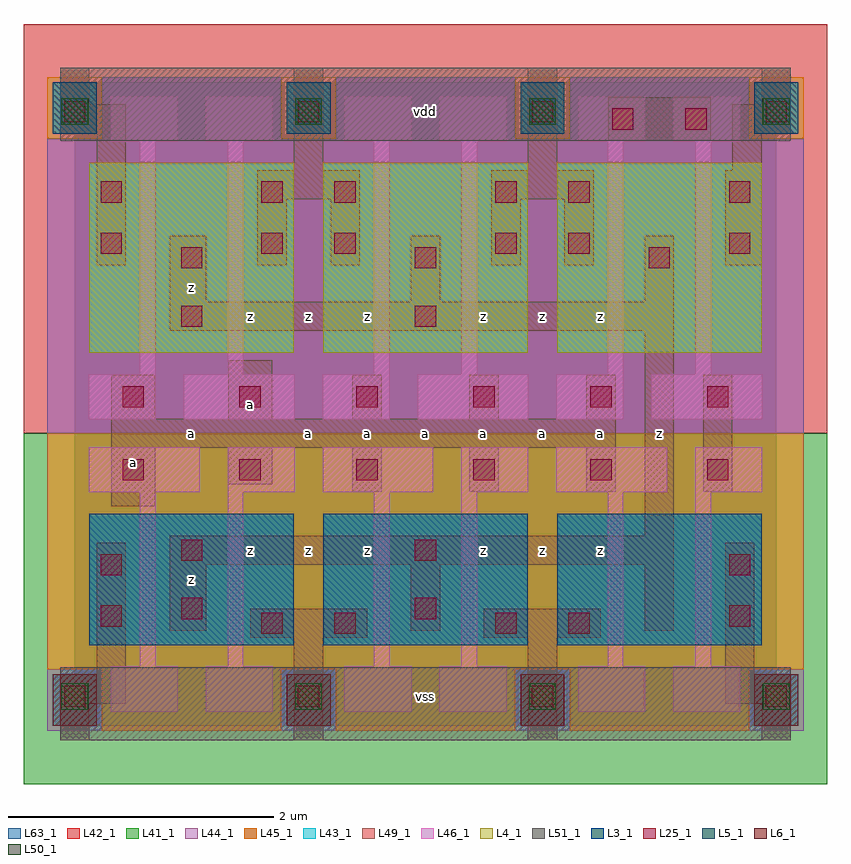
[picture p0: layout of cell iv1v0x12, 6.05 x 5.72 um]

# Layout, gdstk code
import gdstk
lib = gdstk.Library(unit=1e-6, precision=1e-09)
def R(c, l, rs):  # rectangles x0, y0, x1, y1
    for r in rs: c.add(gdstk.rectangle(r[:2], r[2:], *l))
def A(c, l, x, y, w, h, nx, ny, dx, dy):  # array of equal rectangles
    R(c, l, [(x+i*dx, y+j*dy, x+i*dx+w, y+j*dy+h) for i in range(nx) for j in range(ny)])
L3_1 = (3, 1)
L4_1 = (4, 1)
L5_1 = (5, 1)
L6_1 = (6, 1)
L25_1 = (25, 1)
L41_1 = (41, 1)
L42_1 = (42, 1)
L43_1 = (43, 1)
L44_1 = (44, 1)
L45_1 = (45, 1)
L46_1 = (46, 1)
L49_1 = (49, 1)
L50_1 = (50, 1)
L51_1 = (51, 1)
L63_1 = (63, 1)

iv1v0x12 = lib.new_cell('iv1v0x12')
A(iv1v0x12, L3_1, 0.11, 0.605, 1.54, 0.99, 3, 1, 1.76, 0)
A(iv1v0x12, L4_1, 0.11, 2.805, 1.54, 1.43, 3, 1, 1.76, 0)
A(iv1v0x12, L5_1, -0.165, 4.455, 0.33, 0.385, 4, 1, 1.76, 0)
A(iv1v0x12, L6_1, -0.165, 0, 0.33, 0.385, 4, 1, 1.76, 0)
A(iv1v0x12, L25_1, -0.08, 0.14, 0.16, 0.16, 4, 2, 1.76, 4.4)
A(iv1v0x12, L25_1, 0.36, 1.845, 0.16, 0.16, 6, 2, 0.88, 0.55)
A(iv1v0x12, L25_1, 0.8, 3.44, 0.16, 0.16, 3, 1, 1.76, 0)
R(iv1v0x12, L25_1, [(1.405,0.69,1.565,0.85), (1.955,0.69,2.115,0.85), (3.165,0.69,3.325,0.85), (3.715,0.69,3.875,0.85), (0.195,0.745,0.355,0.905), (4.925,0.745,5.085,0.905), (0.8,0.8,0.96,0.96), (2.56,0.8,2.72,0.96), (0.195,1.13,0.355,1.29), (4.925,1.13,5.085,1.29), (0.8,1.24,0.96,1.4), (2.56,1.24,2.72,1.4), (0.8,3,0.96,3.16), (2.56,3,2.72,3.16), (0.195,3.55,0.355,3.71), (1.405,3.55,1.565,3.71), (1.955,3.55,2.115,3.71), (3.165,3.55,3.325,3.71), (3.715,3.55,3.875,3.71), (4.925,3.55,5.085,3.71), (0.195,3.935,0.355,4.095), (1.405,3.935,1.565,4.095), (1.955,3.935,2.115,4.095), (3.165,3.935,3.325,4.095), (3.715,3.935,3.875,4.095), (4.925,3.935,5.085,4.095), (4.045,4.485,4.205,4.645), (4.595,4.485,4.755,4.645)])
R(iv1v0x12, L41_1, [(-0.385,-0.44,5.665,2.2)])
R(iv1v0x12, L42_1, [(-0.385,2.2,5.665,5.28)])
A(iv1v0x12, L43_1, -0.165, 0, 0.33, 0.385, 4, 2, 1.76, 4.455)
A(iv1v0x12, L43_1, 0.11, 0.605, 1.54, 0.99, 3, 1, 1.76, 0)
A(iv1v0x12, L43_1, 0.11, 2.805, 1.54, 1.43, 3, 1, 1.76, 0)
A(iv1v0x12, L44_1, -0.205, -0.04, 0.41, 0.465, 4, 1, 1.76, 0)
A(iv1v0x12, L44_1, 0.205, 4.415, 1.35, 0.465, 3, 1, 1.76, 0)
R(iv1v0x12, L44_1, [(-0.205,2.2,5.485,4.415)])
A(iv1v0x12, L45_1, 0.205, -0.04, 1.35, 0.465, 3, 1, 1.76, 0)
A(iv1v0x12, L45_1, -0.205, 4.415, 0.41, 0.465, 4, 1, 1.76, 0)
R(iv1v0x12, L45_1, [(-0.205,0.425,5.485,2.2)])
A(iv1v0x12, L46_1, 0.105, 1.755, 0.835, 0.34, 3, 1, 1.76, 0)
A(iv1v0x12, L46_1, 1.15, 1.755, 0.505, 0.34, 3, 1, 1.76, 0)
A(iv1v0x12, L46_1, 0.105, 2.305, 0.505, 0.34, 3, 1, 1.76, 0)
A(iv1v0x12, L46_1, 0.82, 2.305, 0.835, 0.34, 3, 1, 1.76, 0)
R(iv1v0x12, L46_1, [(0.27,0.105,0.775,0.445), (0.985,0.105,1.49,0.445), (2.03,0.105,2.535,0.445), (2.745,0.105,3.25,0.445), (3.79,0.105,4.295,0.445), (4.505,0.105,5.01,0.445), (0.49,0.445,0.61,1.755), (1.15,0.445,1.27,1.755), (2.25,0.445,2.37,1.755), (2.91,0.445,3.03,1.755), (4.01,0.445,4.13,1.755), (4.67,0.445,4.79,1.755), (0.49,2.645,0.61,4.395), (1.15,2.645,1.27,4.395), (2.25,2.645,2.37,4.395), (2.91,2.645,3.03,4.395), (4.01,2.645,4.13,4.395), (4.67,2.645,4.79,4.395), (0.27,4.395,0.775,4.735), (0.985,4.395,1.49,4.735), (2.03,4.395,2.535,4.735), (2.745,4.395,3.25,4.735), (3.79,4.395,4.295,4.735), (4.505,4.395,5.01,4.735)])
A(iv1v0x12, L49_1, 2.09, 1.76, 0.22, 0.33, 3, 2, 0.88, 0.55)
R(iv1v0x12, L49_1, [(-0.11,-0.11,0.11,0.165), (1.65,-0.11,1.87,0.66), (3.41,-0.11,3.63,0.66), (5.17,-0.11,5.39,0.165), (-0.11,0.165,0.385,0.385), (4.895,0.165,5.39,0.385), (0.165,0.385,0.385,1.375), (4.895,0.385,5.115,1.375), (1.32,0.66,2.2,0.88), (3.08,0.66,3.96,0.88), (0.715,0.715,0.99,1.21), (2.53,0.715,2.75,1.21), (4.29,0.715,4.51,1.21), (0.715,1.21,4.51,1.43), (4.29,1.43,4.51,2.97), (0.275,1.65,0.605,2.09), (4.73,1.76,4.95,2.64), (1.155,1.815,1.485,2.09), (0.275,2.09,4.07,2.31), (0.275,2.31,0.605,2.64), (1.155,2.31,1.485,2.75), (0.715,2.97,4.51,3.19), (0.715,3.19,0.99,3.685), (2.53,3.19,2.75,3.685), (4.29,3.19,4.51,3.685), (0.165,3.465,0.385,4.455), (1.375,3.465,1.595,3.96), (1.925,3.465,2.145,3.96), (3.135,3.465,3.355,3.96), (3.685,3.465,3.905,3.96), (4.895,3.465,5.17,4.18), (1.375,3.96,2.145,4.18), (3.135,3.96,3.905,4.18), (1.65,4.18,1.87,4.95), (3.41,4.18,3.63,4.95), (4.95,4.18,5.17,4.455), (4.015,4.4,4.785,4.73), (-0.11,4.455,0.385,4.675), (4.95,4.455,5.39,4.675), (-0.11,4.675,0.11,4.95), (5.17,4.675,5.39,4.95)])
A(iv1v0x12, L50_1, -0.1, 0.12, 0.2, 0.2, 4, 2, 1.76, 4.4)
R(iv1v0x12, L51_1, [(-0.11,-0.11,5.39,0.44), (-0.11,4.4,5.39,4.95)])
R(iv1v0x12, L63_1, [(0,0,5.28,4.84)])
iv1v0x12.add(gdstk.Label('a', (0.44,1.98), layer=49, texttype=1))
iv1v0x12.add(gdstk.Label('z', (0.88,1.1), layer=49, texttype=1))
iv1v0x12.add(gdstk.Label('z', (1.76,1.32), layer=49, texttype=1))
iv1v0x12.add(gdstk.Label('z', (1.32,1.32), layer=49, texttype=1))
iv1v0x12.add(gdstk.Label('a', (0.88,2.2), layer=49, texttype=1))
iv1v0x12.add(gdstk.Label('a', (1.76,2.2), layer=49, texttype=1))
iv1v0x12.add(gdstk.Label('a', (1.32,2.42), layer=49, texttype=1))
iv1v0x12.add(gdstk.Label('z', (1.32,3.08), layer=49, texttype=1))
iv1v0x12.add(gdstk.Label('z', (1.76,3.08), layer=49, texttype=1))
iv1v0x12.add(gdstk.Label('z', (0.88,3.3), layer=49, texttype=1))
iv1v0x12.add(gdstk.Label('z', (2.2,1.32), layer=49, texttype=1))
iv1v0x12.add(gdstk.Label('z', (3.08,1.32), layer=49, texttype=1))
iv1v0x12.add(gdstk.Label('a', (2.2,2.2), layer=49, texttype=1))
iv1v0x12.add(gdstk.Label('a', (3.08,2.2), layer=49, texttype=1))
iv1v0x12.add(gdstk.Label('a', (2.64,2.2), layer=49, texttype=1))
iv1v0x12.add(gdstk.Label('z', (3.08,3.08), layer=49, texttype=1))
iv1v0x12.add(gdstk.Label('z', (2.2,3.08), layer=49, texttype=1))
iv1v0x12.add(gdstk.Label('z', (3.96,1.32), layer=49, texttype=1))
iv1v0x12.add(gdstk.Label('z', (3.52,1.32), layer=49, texttype=1))
iv1v0x12.add(gdstk.Label('a', (3.96,2.2), layer=49, texttype=1))
iv1v0x12.add(gdstk.Label('a', (3.52,2.2), layer=49, texttype=1))
iv1v0x12.add(gdstk.Label('z', (3.52,3.08), layer=49, texttype=1))
iv1v0x12.add(gdstk.Label('z', (3.96,3.08), layer=49, texttype=1))
iv1v0x12.add(gdstk.Label('z', (4.4,2.2), layer=49, texttype=1))
iv1v0x12.add(gdstk.Label('vss', (2.64,0.22), layer=51, texttype=1))
iv1v0x12.add(gdstk.Label('vdd', (2.64,4.62), layer=51, texttype=1))

lib.write_gds('iv1v0x12.gds')
